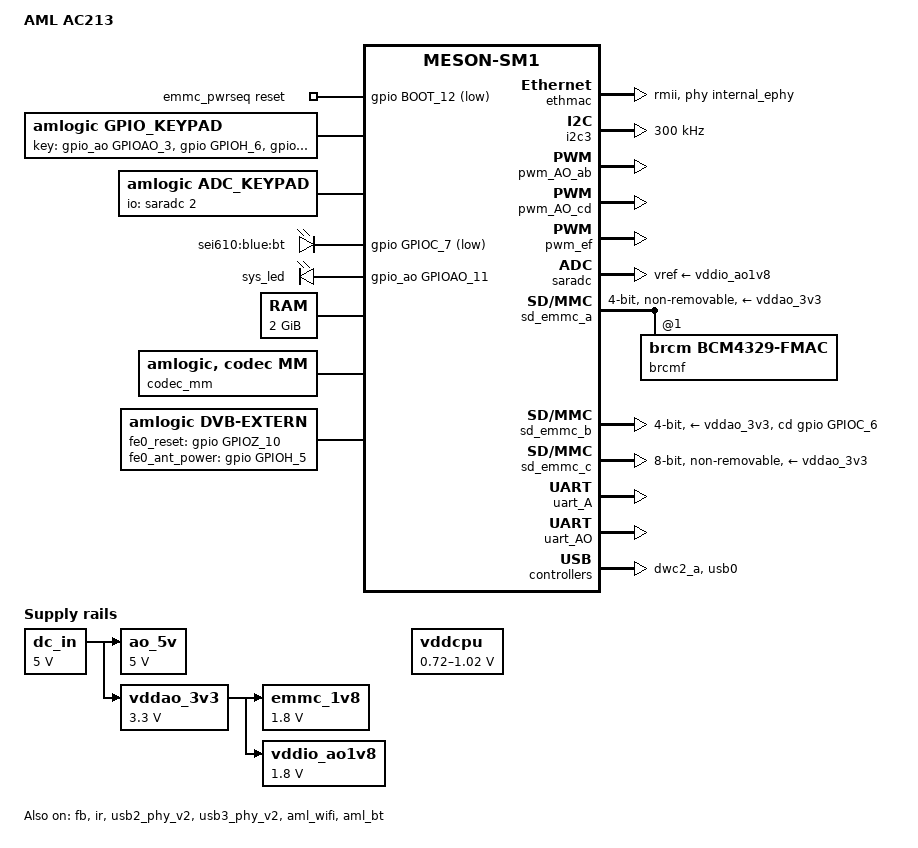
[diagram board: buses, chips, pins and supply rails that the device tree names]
// SPDX-License-Identifier: (GPL-2.0+ OR MIT)
/*
 * Copyright (c) 2019 BayLibre SAS. All rights reserved.
 */

/dts-v1/;

#include "meson-sm1.dtsi"
#include "partition_mbox.dtsi"
#include <dt-bindings/gpio/gpio.h>
#include <dt-bindings/input/input.h>
#include <dt-bindings/gpio/meson-g12a-gpio.h>
#include "mesonsm1_skt-panel.dtsi"

/ {
	compatible = "amlogic,sm1";
	model = "AML AC213";

	aliases {
		serial0 = &uart_AO;
		serial1 = &uart_A;
		serial2 = &uart_B;
		serial3 = &uart_C;
		serial4 = &uart_AO_B;
		ethernet0 = &ethmac;
		tsensor0 = &p_tsensor;
		tsensor1 = &d_tsensor;
		i2c0 = &i2c0;
		i2c1 = &i2c1;
		i2c2 = &i2c2;
		i2c3 = &i2c3;
		i2c4 = &i2c_AO;
		spi1 = &spicc0;
		spi2 = &spicc1;
	};

	chosen {
		stdout-path = "serial0:115200n8";
	};

	emmc_pwrseq: emmc-pwrseq {
		compatible = "mmc-pwrseq-emmc";
		reset-gpios = <&gpio BOOT_12 GPIO_ACTIVE_LOW>;
	};

	gpio_keypad{
		compatible = "amlogic, gpio_keypad";
		status = "okay";
		scan_period = <20>;
		key_num = <4>;
		key_name = "reset", "A", "B", "C";
		key_code = <116 BTN_0 BTN_1 BTN_2>;
		key-gpios = <&gpio_ao  GPIOAO_3  GPIO_ACTIVE_HIGH
			     &gpio     GPIOH_6   GPIO_ACTIVE_HIGH
			     &gpio     GPIOH_7   GPIO_ACTIVE_HIGH
			     &gpio_ao  GPIOAO_2  GPIO_ACTIVE_HIGH>;
		detect_mode = <0>;/*0:polling mode, 1:irq mode*/
	};

	adc_keypad {
		compatible = "amlogic, adc_keypad";
		status = "okay";
		key_name = "vol-", "vol+", "enter";
		key_num = <3>;
		io-channels = <&saradc 2>;
		io-channel-names = "key-chan-2";
		key_chan = <2 2 2>;
		key_code = <114 115 28>;
		key_val = <143 266 389>; //val=voltage/1800mV*1023
		key_tolerance = <40 40 40>;
	};

	leds {
		compatible = "gpio-leds";

		bluetooth {
			label = "sei610:blue:bt";
			gpios = <&gpio GPIOC_7 (GPIO_ACTIVE_LOW | GPIO_OPEN_DRAIN)>;
			default-state = "off";
		};

		sys_led {
			label = "sys_led";
			gpios = <&gpio_ao GPIOAO_11 GPIO_ACTIVE_HIGH>;
			default-state = "on";
		};
	};

	pwmleds {
		compatible = "pwm-leds";
		status = "disabled";

		power {
			label = "sei610:red:power";
			pwms = <&pwm_AO_ab 0 30518 0>;
			max-brightness = <255>;
			linux,default-trigger = "default-on";
			active-low;
		};
	};

	memory@0 {
		device_type = "memory";
		reg = <0x0 0x0 0x0 0x80000000>;
	};

	ao_5v: regulator-ao_5v {
		compatible = "regulator-fixed";
		regulator-name = "AO_5V";
		regulator-min-microvolt = <5000000>;
		regulator-max-microvolt = <5000000>;
		vin-supply = <&dc_in>;
		regulator-always-on;
	};

	dc_in: regulator-dc_in {
		compatible = "regulator-fixed";
		regulator-name = "DC_IN";
		regulator-min-microvolt = <5000000>;
		regulator-max-microvolt = <5000000>;
		regulator-always-on;
	};

	emmc_1v8: regulator-emmc_1v8 {
		compatible = "regulator-fixed";
		regulator-name = "EMMC_1V8";
		regulator-min-microvolt = <1800000>;
		regulator-max-microvolt = <1800000>;
		vin-supply = <&vddao_3v3>;
		regulator-always-on;
	};

	vddao_3v3: regulator-vddao_3v3 {
		compatible = "regulator-fixed";
		regulator-name = "VDDAO_3V3";
		regulator-min-microvolt = <3300000>;
		regulator-max-microvolt = <3300000>;
		vin-supply = <&dc_in>;
		regulator-always-on;
	};

	vddio_ao1v8: regulator-vddio_ao1v8 {
		compatible = "regulator-fixed";
		regulator-name = "VDDIO_AO1V8";
		regulator-min-microvolt = <1800000>;
		regulator-max-microvolt = <1800000>;
		vin-supply = <&vddao_3v3>;
		regulator-always-on;
	};

	reserved-memory {
		secmon_reserved:linux,secmon {
			compatible = "shared-dma-pool";
			reusable;
			size = <0x0 0x400000>;
			alignment = <0x0 0x400000>;
			alloc-ranges = <0x0 0x05000000 0x0 0x400000>;
		};

		secos_reserved:linux,secos {
			status = "disable";
			compatible = "amlogic, aml_secos_memory";
			reg = <0x0 0x05300000 0x0 0x2000000>;
			no-map;
		};

		logo_reserved:linux,meson-fb {
			compatible = "shared-dma-pool";
			reusable;
			size = <0x0 0x800000>;
			alignment = <0x0 0x400000>;
			alloc-ranges = <0x0 0x3f800000 0x0 0x800000>;
		};

		ion_cma_reserved:linux,ion-dev {
			compatible = "shared-dma-pool";
			reusable;
			size = <0x0 0x6400000>;
			alignment = <0x0 0x400000>;
		};
		ion_fb_reserved:linux,ion-fb {
			compatible = "shared-dma-pool";
			reusable;
			/* 1920x1080x4x3 round up 4M align */
			size = <0x0 0x1c00000>;
			alignment = <0x0 0x400000>;
		};

		/*di CMA pool */
		di_cma_reserved:linux,di_cma {
			compatible = "shared-dma-pool";
			reusable;
			/* buffer_size = 3621952(yuv422 8bit)
			 *  | 4736064(yuv422 10bit)
			 *  | 4074560(yuv422 10bit full pack mode)
			 * 10x3621952=34.6M(0x23) support 8bit
			 * 10x4736064=45.2M(0x2e) support 12bit
			 * 10x4074560=40M(0x28) support 10bit
			 */
			size = <0x0 0x05800000>;
			alignment = <0x0 0x400000>;
		};

		/*  POST PROCESS MANAGER */
		ppmgr_reserved:linux,ppmgr {
			compatible = "shared-dma-pool";
			size = <0x0>;
		};

		codec_mm_cma:linux,codec_mm_cma {
			compatible = "shared-dma-pool";
			reusable;
			/* ion_codec_mm max can alloc size 80M*/
			size = <0x0 0x13400000>;
			alignment = <0x0 0x400000>;
			linux,contiguous-region;
		};

		/* codec shared reserved */
		codec_mm_reserved:linux,codec_mm_reserved {
			compatible = "amlogic, codec-mm-reserved";
			size = <0x0 0x0>;
			alignment = <0x0 0x100000>;
			//no-map;
		};

		autocap_reserved:linux,autocap_reserved {
			compatible = "amlogic, aml_autocap_memory";
			status = "disabled";
			//size = <0x0 0x4000000>;
			//alloc-ranges = <0x0 0x40000000 0x0 0x25800000>;
		};

		/*  vdin0 CMA pool */
		//vdin0_cma_reserved:linux,vdin0_cma {
		//	compatible = "shared-dma-pool";
		//	reusable;
			/* 3840x2160x4x4 ~=128 M */
		//	size = <0x0 0xc400000>;
		//	alignment = <0x0 0x400000>;
		//};

		/*  vdin1 CMA pool */
		vdin1_cma_reserved:linux,vdin1_cma {
			compatible = "shared-dma-pool";
			reusable;
			/*keystone need 4 buffers,each has 1920*1080*3
			 *for keystone, change to 0x1800000(24M)
			 */
			size = <0x0 0x1400000>;/*20M*/
			alignment = <0x0 0x400000>;
			alloc-ranges = <0x0 0x30000000 0x0 0x10000000>;
		};
	};

	free_reserved {
		compatible = "amlogic, free_reserved";
		memory-region = <&autocap_reserved>;
		status = "disabled";
	};

	ppmgr {
		compatible = "amlogic, ppmgr";
		memory-region = <&ppmgr_reserved>;
		dev_name = "ppmgr";
		status = "okay";
	};

	amlvecm {
		compatible = "amlogic, vecm";
		dev_name = "aml_vecm";
		status = "okay";
		gamma_en = <0>;/*1:enabel ;0:disable*/
		wb_en = <0>;/*1:enabel ;0:disable*/
		cm_en = <0>;/*1:enabel ;0:disable*/
	};

	multi-di {
		compatible = "amlogic, dim-sm1";
		status = "okay";
		/* 0:use reserved; 1:use cma; 2:use cma as reserved */
		flag_cma = <1>;
		//memory-region = <&di_reserved>;
		memory-region = <&di_cma_reserved>;
		interrupts = <0 46 1
				0 40 1>;
		interrupt-names = "pre_irq", "post_irq";
		clocks = <&clkc CLKID_VPU_CLKB_TMP
			&clkc CLKID_VPU_CLKB
			&clkc CLKID_VPU>;
		clock-names = "vpu_clkb_tmp",
			"vpu_clkb",
			"vpu_mux";
		clock-range = <334 667>;
		/* buffer-size = <3621952>;(yuv422 8bit) */
		buffer-size = <4074560>;/*yuv422 fullpack*/
		/* reserve-iomap = "true"; */
		/* if enable nr10bit, set nr10bit-support to 1 */
		post-wr-support = <1>;
		nr10bit-support = <1>;
		nrds-enable = <1>;
		pps-enable = <1>;
	};

	deinterlace {
		compatible = "amlogic, deinterlace";
		status = "disable";
		/* 0:use reserved; 1:use cma; 2:use cma as reserved */
		flag_cma = <1>;
		//memory-region = <&di_reserved>;
		//memory-region = <&di_cma_reserved>;
		interrupts = <0 46 1
				0 40 1>;
		interrupt-names = "pre_irq", "post_irq";
		clocks = <&clkc CLKID_VPU_CLKB_TMP
			&clkc CLKID_VPU_CLKB
			&clkc CLKID_VPU>;
		clock-names = "vpu_clkb_tmp",
			"vpu_clkb",
			"vpu_mux";
		clock-range = <334 667>;
		/* buffer-size = <3621952>;(yuv422 8bit) */
		buffer-size = <4074560>;/*yuv422 fullpack*/
		/* reserve-iomap = "true"; */
		/* if enable nr10bit, set nr10bit-support to 1 */
		post-wr-support = <1>;
		nr10bit-support = <1>;
		nrds-enable = <1>;
		pps-enable = <1>;
	};

	codec_mm {
		compatible = "amlogic, codec, mm";
		memory-region = <&codec_mm_cma &codec_mm_reserved>;
		dev_name = "codec_mm";
		status = "okay";
	};

	amdolby_vision {
		compatible = "amlogic, dolby_vision_sm1";
		dev_name = "aml_amdolby_vision_driver";
		status = "okay";
		tv_mode = <0>;/*1:enabel ;0:disable*/
	};

	auge_sound {
		compatible = "amlogic, auge-sound-card";
		aml-audio-card,name = "AML-AUGESOUND";

		/* avout mute gpio */
		//avout_mute-gpios = <&gpio_ao GPIOAO_2 GPIO_ACTIVE_HIGH>;

		aml-audio-card,dai-link@0 {
			format = "dsp_a";
			mclk-fs = <512>;
			//continuous-clock;
			//bitclock-inversion;
			//frame-inversion;
			/* master mode */
			bitclock-master = <&tdma>;
			frame-master = <&tdma>;
			/* slave mode */
			/*
			 * bitclock-master = <&tdmacodec>;
			 * frame-master = <&tdmacodec>;
			 */
			suffix-name = "alsaPORT-pcm";
			tdmacpu: cpu {
				sound-dai = <&tdma>;
				dai-tdm-slot-tx-mask =
							<1 1 1 1 1 1 1 1>;
				dai-tdm-slot-rx-mask =
							<1 1 1 1 1 1 1 1>;
				dai-tdm-slot-num = <8>;
				dai-tdm-slot-width = <32>;
				system-clock-frequency = <24576000>;
			};
			tdmacodec: codec {
				sound-dai = <&dummy_codec &dummy_codec>;
			};
		};

		aml-audio-card,dai-link@1 {
			format = "i2s";// "dsp_a";
			mclk-fs = <256>;
			//continuous-clock;
			//bitclock-inversion;
			//frame-inversion;
			/* master mode */
			bitclock-master = <&tdmb>;
			frame-master = <&tdmb>;
			/* slave mode */
			//bitclock-master = <&tdmbcodec>;
			//frame-master = <&tdmbcodec>;
			/* suffix-name, sync with android audio hal
			 * what's the dai link used for
			 */
			suffix-name = "alsaPORT-i2s";
			cpu {
				sound-dai = <&tdmb>;
				dai-tdm-slot-tx-mask = <1 1>;
				dai-tdm-slot-rx-mask = <1 1>;
				dai-tdm-slot-num = <2>;
				/*
				 * dai-tdm-slot-tx-mask =
				 *	<1 1 1 1 1 1 1 1>;
				 * dai-tdm-slot-rx-mask =
				 *	<1 1 1 1 1 1 1 1>;
				 * dai-tdm-slot-num = <8>;
				 */
				dai-tdm-slot-width = <32>;
				system-clock-frequency = <12288000>;
			};
			tdmbcodec: codec {
				sound-dai = <&amlogic_codec>;
			};
		};

		aml-audio-card,dai-link@2 {
			format = "i2s";
			mclk-fs = <256>;
			//continuous-clock;
			//bitclock-inversion;
			//frame-inversion;
			/* master mode */
			bitclock-master = <&tdmc>;
			frame-master = <&tdmc>;
			/* slave mode */
			//bitclock-master = <&tdmccodec>;
			//frame-master = <&tdmccodec>;
			/* suffix-name, sync with android audio hal used for */
			//suffix-name = "alsaPORT-tdm";
			cpu {
				sound-dai = <&tdmc>;
				dai-tdm-slot-tx-mask = <1 1>;
				dai-tdm-slot-rx-mask = <1 1>;
				dai-tdm-slot-num = <2>;
				dai-tdm-slot-width = <32>;
				system-clock-frequency = <12288000>;
			};
			tdmccodec: codec {
				sound-dai = <&dummy_codec>;
			};
		};

		aml-audio-card,dai-link@3 {
			mclk-fs = <64>;
			/* suffix-name, sync with android audio hal
			 * what's the dai link used for
			 */
			suffix-name = "alsaPORT-pdm-builtinmic";
			cpu {
				sound-dai = <&apdm>;
			};
			codec {
				sound-dai = <&dummy_codec>;
			};
		};

		aml-audio-card,dai-link@4 {
			mclk-fs = <128>;
			/* suffix-name, sync with android audio hal used for */
			suffix-name = "alsaPORT-spdif";
			cpu {
				sound-dai = <&spdifa>;
				system-clock-frequency = <6144000>;
			};
			codec {
				sound-dai = <&dummy_codec>;
			};
		};
		/* spdif_b to hdmi, only playback */
		aml-audio-card,dai-link@5 {
			mclk-fs = <128>;
			continuous-clock;
			/* suffix-name, sync with android audio hal
			 * what's the dai link used for
			 */
			suffix-name = "alsaPORT-spdifb";
			cpu {
				sound-dai = <&spdifb>;
				system-clock-frequency = <6144000>;
			};
			codec {
				sound-dai = <&dummy_codec>;
			};
		};
		aml-audio-card,dai-link@6 {
			mclk-fs = <256>;
			continuous-clock;
			suffix-name = "alsaPORT-loopback";
			cpu {
				sound-dai = <&loopbacka>;
				system-clock-frequency = <12288000>;
			};
			codec {
				sound-dai = <&dummy_codec>;
			};
		};
	};

	picdec {
		compatible = "amlogic, picdec";
		status = "okay";
	};

	cvbsout {
		compatible = "amlogic, cvbsout-sm1";
		status = "okay";
		clocks = <&clkc CLKID_VCLK2_ENCI
			&clkc CLKID_VCLK2_VENCI0
			&clkc CLKID_VCLK2_VENCI1
			&clkc CLKID_DAC_CLK>;
		clock-names = "venci_top_gate",
			"venci_0_gate",
			"venci_1_gate",
			"vdac_clk_gate";
		/* clk path */
		/* 0:vid_pll vid2_clk */
		/* 1:gp0_pll vid2_clk */
		/* 2:vid_pll vid1_clk */
		/* 3:gp0_pll vid1_clk */
		clk_path = <0>;

		/* performance: reg_address, reg_value */
		/* tm2 */
		performance = <0x1bf0  0x9
			0x1b56  0x333
			0x1b12  0x8080
			0x1b05  0xfd
			0x1c59  0xf850
			0xffff  0x0>; /* ending flag */
		performance_sarft = <0x1bf0  0x9
			0x1b56  0x333
			0x1b12  0x0
			0x1b05  0x9
			0x1c59  0xfc48
			0xffff  0x0>; /* ending flag */
		performance_revB_telecom = <0x1bf0  0x9
			0x1b56  0x546
			0x1b12  0x8080
			0x1b05  0x9
			0x1c59  0xf850
			0xffff  0x0>; /* ending flag */
	};

	cpu_opp_table: opp-table {
		compatible = "operating-points-v2";
		opp-shared;

		opp-100000000 {
			opp-hz = /bits/ 64 <100000000>;
			opp-microvolt = <760000>;
		};

		opp-250000000 {
			opp-hz = /bits/ 64 <250000000>;
			opp-microvolt = <760000>;
		};

		opp-500000000 {
			opp-hz = /bits/ 64 <500000000>;
			opp-microvolt = <760000>;
		};

		opp-667000000 {
			opp-hz = /bits/ 64 <666666666>;
			opp-microvolt = <780000>;
		};

		opp-1000000000 {
			opp-hz = /bits/ 64 <1000000000>;
			opp-microvolt = <800000>;
		};

		opp-1200000000 {
			opp-hz = /bits/ 64 <1200000000>;
			opp-microvolt = <810000>;
		};

		opp-1404000000 {
			opp-hz = /bits/ 64 <1404000000>;
			opp-microvolt = <820000>;
		};

		opp-1512000000 {
			opp-hz = /bits/ 64 <1500000000>;
			opp-microvolt = <830000>;
		};

		opp-1608000000 {
			opp-hz = /bits/ 64 <1608000000>;
			opp-microvolt = <860000>;
		};

		opp-1704000000 {
			opp-hz = /bits/ 64 <1704000000>;
			opp-microvolt = <900000>;
		};

		opp-1800000000 {
			opp-hz = /bits/ 64 <1800000000>;
			opp-microvolt = <940000>;
		};

		opp-1908000000 {
			opp-hz = /bits/ 64 <1908000000>;
			opp-microvolt = <970000>;
		};
	};

	cpufreq-meson {
		compatible = "amlogic, cpufreq-meson";
		status = "okay";
	};

	dvb-extern {
		compatible = "amlogic, dvb-extern";
		dev_name = "dvb-extern";
		status = "okay";

		fe_num = <1>;
		fe0_demod = "Avl6762";
		fe0_i2c_adap_id = <&i2c3>;
		fe0_demod_i2c_addr = <0x14>;
		fe0_ts = <0>;
		fe0_reset_value = <0>;
		fe0_reset_gpio = <&gpio GPIOZ_10 GPIO_ACTIVE_HIGH>;
		fe0_ant_poweron_value = <0>;
		fe0_ant_power_gpio = <&gpio GPIOH_5 GPIO_ACTIVE_HIGH>;
	};

	dvb-demux {
		compatible = "amlogic, dvb-demux";
		dev_name = "dvb-demux";
		status = "okay";

		dmx = <&demux>;
		key_endia = <1>;
		add_s2p2 = <1>;
		add_ts_in = <1>;
		add_asyncfifo = <1>;

		ts0 = "serial";
		ts0_control = <0x800>;
		ts0_invert = <0>;
		pinctrl-names = "s_ts0";
		pinctrl-0 = <&dvb_s_ts0_pins>;
		clocks = <&clkc CLKID_DEMUX
		&clkc CLKID_AHB_ARB0
		&clkc CLKID_PARSER>;
		clock-names = "demux", "ahbarb0", "parser_top";
	};

	vdin@0 {
		compatible = "amlogic, vdin";
		/*memory-region = <&vdin0_cma_reserved>;*/
		status = "okay";
		/*bit0:(1:share with codec_mm;0:cma alone)
		 *bit8:(1:alloc in discontinus way;0:alone in continuous way)
		 */
		flag_cma = <0x101>;
		/*MByte, if 10bit disable: 64M(YUV422),
		 *if 10bit enable: 64*1.5 = 96M(YUV422)
		 *if support 4K2K-YUV444-10bit-WR:3840*2160*4*6 ~= 200M
		 *if support 4K2K-YUV422-10bit-wr:3840*2160*3*6 ~= 160M
		 *if support 4K2K-YUV422-8BIT-WR:3840*2160*2*4 ~= 64M
		 *if support 1080p-YUV422-8BIT-WR:1920*1080*2*4 ~= 16M
		 *worst case:(4096*2160*4 + 2M(afbce issue)) *6buf = 214.5M
		 */
		cma_size = <215>;
		interrupts = <0 83 1>;
		rdma-irq = <2>;
		clocks = <&clkc CLKID_FCLK_DIV5>,
			<&clkc CLKID_VDIN_MEAS_GATE>;
		clock-names = "fclk_div5", "cts_vdin_meas_clk";
		vdin_id = <0>;
		/*vdin write mem color depth support:
		 * bit0:support 8bit
		 * bit1:support 9bit
		 * bit2:support 10bit
		 * bit3:support 12bit
		 * bit4:support yuv422 10bit full pack mode (from txl new add)
		 * bit8:use 8bit  at 4k_50/60hz_10bit
		 * bit9:use 10bit at 4k_50/60hz_10bit
		 */
		tv_bit_mode = <0x215>;
		/* afbce_bit_mode: (amlogic frame buff compression encoder)
		 * bit0 -- enable afbce
		 * bit1 -- enable afbce compression-lossy
		 * bit4 -- afbce for 4k
		 * bit5 -- afbce for 1080p
		 * bit6 -- afbce for 720p
		 * bit7 -- afbce for smaller resolution
		 */
		afbce_bit_mode = <0x31>;
	};

	vdin@1 {
		compatible = "amlogic, vdin";
		memory-region = <&vdin1_cma_reserved>;
		status = "okay";
		/*bit0:(1:share with codec_mm;0:cma alone)
		 *bit8:(1:alloc in discontinus way;0:alone in continuous way)
		 */
		flag_cma = <0>;
		interrupts = <0 85 1>;
		rdma-irq = <4>;
		clocks = <&clkc CLKID_FCLK_DIV5>,
			<&clkc CLKID_VDIN_MEAS_GATE>;
		clock-names = "fclk_div5", "cts_vdin_meas_clk";
		vdin_id = <1>;
		/*vdin write mem color depth support:
		 *bit0:support 8bit
		 *bit1:support 9bit
		 *bit2:support 10bit
		 *bit3:support 12bit
		 */
		tv_bit_mode = <0x15>;
	};

	amvdec_656in {
		/*bt656 gpio conflict with i2c0*/
		compatible = "amlogic, bt656in-sm1";
		status = "disabled";
		reg = <0x0 0xffe02000 0x0 0x7c>;
		clocks = <&clkc CLKID_BT656_GATE>,
			<&clkc CLKID_BT656>;
		clock-names = "cts_bt656_clk1",
			"clk_gate_bt656";
		/* bt656in1, bt656in2 */
		bt656in1 {
		bt656_id = <1>;
		status = "disabled";
		};
	};
};

/*
&cec_AO {
	pinctrl-0 = <&cec_ao_a_h_pins>;
	pinctrl-names = "default";
	status = "disabled";
	hdmi-phandle = <&hdmi_tx>;
};

&cecb_AO {
	pinctrl-0 = <&cec_ao_b_h_pins>;
	pinctrl-names = "default";
	status = "okay";
	hdmi-phandle = <&hdmi_tx>;
};
*/

&cpu0 {
	cpu-supply = <&vddcpu>;
	operating-points-v2 = <&cpu_opp_table>;
	clocks = <&clkc CLKID_CPU_CLK>,
	       <&clkc CLKID_CPU_CLK_DYN>,
	       <&clkc CLKID_SYS_PLL>,
	       <&clkc CLKID_DSU_CLK>,
	       <&clkc CLKID_DSU_CLK_FINAL>;
	clock-names = "core_clk",
		"low_freq_clk_parent",
		"high_freq_clk_parent",
		"dsu_clk",
		"dsu_pre_parent";
	clock-latency = <50000>;
};

&cpu1 {
	cpu-supply = <&vddcpu>;
	operating-points-v2 = <&cpu_opp_table>;
	clocks = <&clkc CLKID_CPU_CLK>,
	       <&clkc CLKID_CPU_CLK_DYN>,
	       <&clkc CLKID_SYS_PLL>,
	       <&clkc CLKID_DSU_CLK>,
	       <&clkc CLKID_DSU_CLK_FINAL>;
	clock-names = "core_clk",
		"low_freq_clk_parent",
		"high_freq_clk_parent",
		"dsu_clk",
		"dsu_pre_parent";
	clock-latency = <50000>;
};

&cpu2 {
	cpu-supply = <&vddcpu>;
	operating-points-v2 = <&cpu_opp_table>;
	clocks = <&clkc CLKID_CPU_CLK>,
	       <&clkc CLKID_CPU_CLK_DYN>,
	       <&clkc CLKID_SYS_PLL>,
	       <&clkc CLKID_DSU_CLK>,
	       <&clkc CLKID_DSU_CLK_FINAL>;
	clock-names = "core_clk",
		"low_freq_clk_parent",
		"high_freq_clk_parent",
		"dsu_clk",
		"dsu_pre_parent";
	clock-latency = <50000>;
};

&cpu3 {
	cpu-supply = <&vddcpu>;
	operating-points-v2 = <&cpu_opp_table>;
	clocks = <&clkc CLKID_CPU_CLK>,
	       <&clkc CLKID_CPU_CLK_DYN>,
	       <&clkc CLKID_SYS_PLL>,
	       <&clkc CLKID_DSU_CLK>,
	       <&clkc CLKID_DSU_CLK_FINAL>;
	clock-names = "core_clk",
		"low_freq_clk_parent",
		"high_freq_clk_parent",
		"dsu_clk",
		"dsu_pre_parent";
	clock-latency = <50000>;
};

&vddcpu {
	pwms = <&pwm_AO_cd MESON_PWM_1 1250 0>;
	regulator-min-microvolt = <720000>;
	regulator-max-microvolt = <1020000>;
	max-duty-cycle = <1250>;
	/* Voltage Duty-Cycle */
	voltage-table = <1020000 0>,
		<1010000 4>,
		<1000000 8>,
		<990000 11>,
		<980000 14>,
		<970000 17>,
		<960000 20>,
		<950000 24>,
		<940000 27>,
		<930000 31>,
		<920000 35>,
		<910000 38>,
		<900000 42>,
		<890000 45>,
		<880000 48>,
		<870000 52>,
		<860000 56>,
		<850000 59>,
		<840000 63>,
		<830000 65>,
		<820000 67>,
		<810000 70>,
		<800000 74>,
		<790000 78>,
		<780000 80>,
		<770000 84>,
		<760000 88>,
		<750000 92>,
		<740000 95>,
		<730000 98>,
		<720000 100>;
};

/* open this comment for ext phy
 *&ext_mdio {
	external_phy: ethernet-phy@0 {
		reg = <0>;
		max-speed = <1000>;

		reset-assert-us = <10000>;
		reset-deassert-us = <30000>;
		reset-gpios = <&gpio GPIOZ_15 (GPIO_ACTIVE_LOW |
					GPIO_OPEN_DRAIN)>;

		interrupt-parent = <&gpio_intc>;
		interrupts = <26 IRQ_TYPE_LEVEL_LOW>;
	};
};
&ethmac {
	pinctrl-0 = <&eth_pins>, <&eth_rgmii_pins>;
	pinctrl-names = "default";
	status = "okay";
	phy-mode = "rgmii";
	phy-handle = <&external_phy>;
	amlogic,tx-delay-ns = <2>;
};
*/

&ethmac {
	status = "okay";
	phy-handle = <&internal_ephy>;
	phy-mode = "rmii";
};

&fb {
	status = "okay";
	display_size_default = <1920 1080 1920 2160 32>;
	mem_size = <0x00800000 0x1980000 0x100000 0x100000 0x800000>;
	logo_addr = "0x3f800000";
	mem_alloc = <0>;
	pxp_mode = <0>; /** 0:normal mode 1:pxp mode */
};

/*
&hdmi_tx {
	status = "okay";
	pinctrl-0 = <&hdmitx_hpd_pins>, <&hdmitx_ddc_pins>;
	pinctrl-names = "default";
};

&hdmi_tx_tmds_port {
	hdmi_tx_tmds_out: endpoint {
		remote-endpoint = <&hdmi_connector_in>;
	};
};
*/

&i2c3 {
	status = "okay";
	pinctrl-0 = <&i2c3_sda_a_pins>, <&i2c3_sck_a_pins>;
	pinctrl-names = "default";
	clock-frequency = <300000>; /* default 100k */
};

&ir {
	status = "okay";
	pinctrl-0 = <&remote_input_ao_pins>;
	pinctrl-names = "default";
};

&pwm_AO_ab {
	status = "okay";
};

&pwm_AO_cd {
	pinctrl-0 = <&pwm_ao_d_e_pins>;
	pinctrl-names = "default";
	status = "okay";
};

&pwm_ef {
	pinctrl-0 = <&pwm_e_pins>;
	pinctrl-names = "default";
	status = "okay";
};

&saradc {
	status = "okay";
	vref-supply = <&vddio_ao1v8>;
};

/* SDIO */
&sd_emmc_a {
	status = "okay";
	pinctrl-0 = <&sdio_pins>;
	pinctrl-1 = <&sdio_clk_gate_pins>;
	pinctrl-names = "default", "clk-gate";
	#address-cells = <1>;
	#size-cells = <0>;

	bus-width = <4>;
	cap-sd-highspeed;
	sd-uhs-sdr50;
	sd-uhs-sdr104;
	max-frequency = <200000000>;

	non-removable;
	disable-wp;

	vmmc-supply = <&vddao_3v3>;
	vqmmc-supply = <&vddio_ao1v8>;

	brcmf: wifi@1 {
		reg = <1>;
		compatible = "brcm,bcm4329-fmac";
	};
};

/* SD card */
&sd_emmc_b {
	status = "okay";
	pinctrl-0 = <&sdcard_c_pins>;
	pinctrl-1 = <&sdcard_clk_gate_c_pins>;
	pinctrl-2 = <&sd_1bit_pins>;
	pinctrl-3 = <&sd_to_ao_uart_clr_pins
		&sdcard_clk_gate_c_pins &ao_to_sd_uart_pins>;
	pinctrl-4 = <&sd_to_ao_uart_clr_pins
		&sd_1bit_pins &ao_to_sd_uart_pins>;
	pinctrl-5 = <&sdcard_c_pins &uart_ao_a_pins>;
	pinctrl-6 = <&sd_to_ao_uart_clr_pins
		&ao_to_sd_uart_pins>;
	pinctrl-7 = <&sdcard_c_pins &uart_ao_a_pins>;
	pinctrl-8 = <&sd_to_ao_uart_clr_pins
		&ao_to_sd_uart_pins>;
	pinctrl-names = "sd_default",
			"clk-gate",
			"sd_1bit_pins",
			"sd_clk_cmd_uart_pins",
			"sd_1bit_uart_pins",
			"sd_to_ao_uart_pins",
			"ao_to_sd_uart_pins",
			"sd_to_ao_jtag_pins",
			"ao_to_sd_jtag_pins";
	bus-width = <4>;
	cap-sd-highspeed;
//	sd-uhs-sdr12;
//	sd-uhs-sdr25;
//	sd-uhs-sdr50;
//	sd-uhs-sdr104;
	max-frequency = <200000000>;
	disable-wp;

	cd-gpios = <&gpio GPIOC_6 GPIO_ACTIVE_HIGH>;
	dat1-gpios = <&gpio GPIOC_1 GPIO_ACTIVE_HIGH>;
	vmmc-supply = <&vddao_3v3>;
	vqmmc-supply = <&emmc_1v8>;
};

/* eMMC */
&sd_emmc_c {
	status = "okay";
	pinctrl-0 = <&emmc_pins>, <&emmc_ds_pins>;
	pinctrl-1 = <&emmc_clk_gate_pins>;
	pinctrl-names = "default", "clk-gate";

	bus-width = <8>;
	cap-mmc-highspeed;
	//mmc-ddr-1_8v;
	mmc-hs200-1_8v;
	mmc-hs400-1_8v;
	max-frequency = <200000000>;
	non-removable;
	disable-wp;

	mmc-pwrseq = <&emmc_pwrseq>;
	vmmc-supply = <&vddao_3v3>;
	vqmmc-supply = <&emmc_1v8>;
};

&emmc_pwrseq {
	status = "okay";
};

&mtd_nand {
	status = "disabled";
	#address-cells = <1>;
	#size-cells = <0>;

	pinctrl-names = "nand_norb_mod","nand_cs_only";
	pinctrl-0 = <&all_nand_pins>;
	pinctrl-1 = <&nand_cs_pins>;
	bl_mode = <1>;
	fip_copies = <4>;
	fip_size = <0x200000>;
	ship_bad_block = <1>;
	nand@bootloader {
		reg = <0>;
		#address-cells = <1>;
		#size-cells = <1>;

		nand-ecc-maximize;
		partition@0 {
			label = "bootloader";
			reg = <0x0 0x00000000>;
		};
	};
	nand@normal {
		reg = <0>;
		#address-cells = <1>;
		#size-cells = <1>;

		nand-ecc-maximize;

		partition@0 {
			label = "tpl";
			reg = <0x0 0x00000000>;
		};
		partition@1 {
			label = "logo";
			reg = <0x0 0x00200000>;
		};
		partition@2 {
			label = "recovery";
			reg = <0x0 0x1000000>;
		};
		partition@3 {
			label = "boot";
			reg = <0x0 0x0F00000>;
		};
		partition@4 {
			label = "system";
			reg = <0x0 0x11800000>;
		};
		partition@5 {
			label = "data";
			reg = <0x0 0xffffffff>;
		};
	};
};

&uart_A {
	status = "okay";
	pinctrl-0 = <&uart_a_pins>, <&uart_a_cts_rts_pins>;
	pinctrl-names = "default";
	uart-has-rtscts;

	//bluetooth {
	//	compatible = "brcm,bcm43438-bt";
	//	shutdown-gpios = <&gpio GPIOX_17 GPIO_ACTIVE_HIGH>;
	//	max-speed = <2000000>;
	//	clocks = <&wifi32k>;
	//	clock-names = "lpo";
	//	vbat-supply = <&vddao_3v3>;
	//	vddio-supply = <&vddio_ao1v8>;
	//};
};

/* Exposed via the on-board USB to Serial FT232RL IC */
&uart_AO {
	status = "okay";
//	pinctrl-0 = <&uart_ao_a_pins>;
//	pinctrl-names = "default";
};

&dwc2_a {
	status = "okay";
	/** 0: normal, 1: otg+dwc3 host only, 2: otg+dwc3 device only*/
	controller-type = <1>;
};

&usb0 {
	status = "okay";
};

&usb2_phy_v2 {
	status = "okay";
	portnum = <2>;
};

&usb3_phy_v2 {
	status = "okay";
	portnum = <1>;
	otg = <0>;
};

&aml_wifi{
	status = "okay";
	interrupt-gpios = <&gpio  GPIOX_7  GPIO_ACTIVE_HIGH>;
	power_on-gpios = <&gpio   GPIOX_6  GPIO_ACTIVE_HIGH>;
};

&aml_bt {
	status = "okay";
	reset-gpios = <&gpio    GPIOX_17 GPIO_ACTIVE_HIGH>;
	hostwake-gpios = <&gpio GPIOX_19 GPIO_ACTIVE_HIGH>;
};

&pcie {
	status = "disable";
	reset-gpio = <&gpio GPIOX_7 GPIO_ACTIVE_HIGH>;
};

&spicc0 {
	status = "disabled";
	pinctrl-names = "default";
	pinctrl-0 = <&spicc0_pins_x>;
	cs-gpios = <&gpio GPIOX_10 0>;
};

&spicc1 {
	status = "disabled";
	pinctrl-names = "default";
	pinctrl-0 = <&spicc1_pins>;
	cs-gpios = <&gpio GPIOH_6 0>;
};

&ao_pinctrl {
	dvb_s_ts0_pins: dvb_s_ts0_pins {
		tsin_a {
			groups =  "tsin_ao_asop",
				"tsin_ao_a_valid",
				"tsin_ao_aclk",
				"tsin_ao_adin0";
			function = "tsin_ao_a";
		};
	};
};
